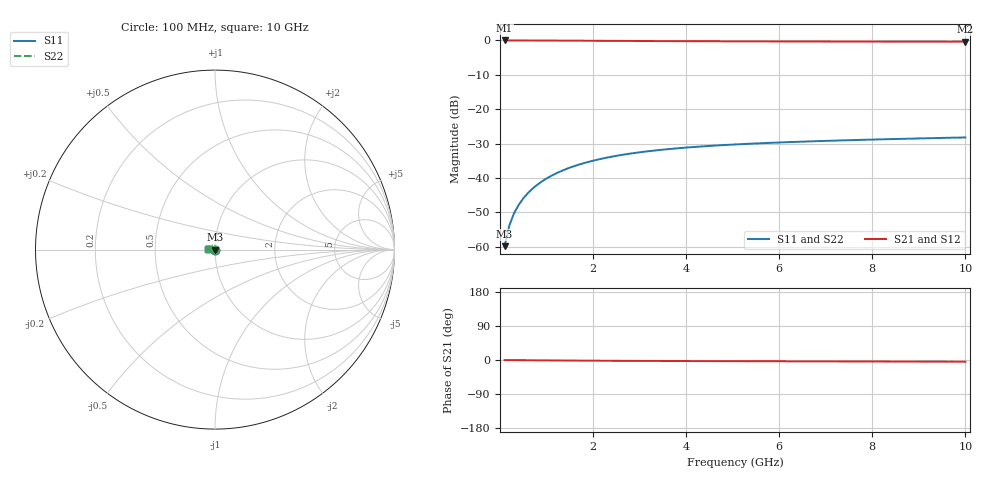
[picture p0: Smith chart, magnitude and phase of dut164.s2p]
! Touchstone file exported from HFSS 2024.1.0
!  File:  C:/UserFiles/LocalFiles/RDL_TSV_Batchsim/temp_TSV1_164_1779382654.aedt
!  Generated:  01:03:48 AM May 22, 2026
!  Design:  TSV1
!  Project:  temp_TSV1_164_1779382654
!  Setup:  Setup1
!  Solution:  Sweep
! Variables:
!  dtsv = 9.8um
!  hbump = 3um
!  htsv = 68.54um
!  lrdl = 252.1521522um
!  p = 40
!  p1 = 51.22um
!  t = 500um
!  trdl = 3um
!  wrdl = 24.89489489um
# GHz S MA R 50.000000
! Terminal data exported
! Port[1] = TSV22_T1
! Port[2] = TSV22_T2
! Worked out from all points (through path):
!   100 points, 100 MHz to 10 GHz, reference 50 ohm
!   highest |S21| = 0.00 dB at 100 MHz (marker M1); lowest = -0.4 dB at 10 GHz (marker M2)
!   lowest |S11| = -59.9 dB at 100 MHz (marker M3), VSWR 1.00, Z = 50 - j0.101 ohm
!   |S11| at or under -10 dB: start of sweep to end of sweep
!   |S22| runs from -59.9 to -28.2 dB; largest |S21 - S12| = 5e-15
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0.1  0.001014 -84.1  0.9998 -0.1  0.9998 -0.1  0.001014 -84.1
! Gamma 0 0 0 0
! Port Impedance 50 0 50 0
0.2  0.002017 -89.7  0.9997 -0.2  0.9997 -0.2  0.002017 -89.7
0.3  0.003022 -92.8  0.9995 -0.3  0.9995 -0.3  0.003022 -92.8
0.4  0.004024 -95.3  0.9993 -0.4  0.9993 -0.4  0.004024 -95.3
0.5  0.005018 -97.6  0.999 -0.5  0.999 -0.5  0.005018 -97.6
0.6  0.006001 -99.7  0.9986 -0.6  0.9986 -0.6  0.006001 -99.7
0.7  0.006971 -101.8  0.9982 -0.7  0.9982 -0.7  0.006971 -101.8
0.8  0.007925 -103.7  0.9977 -0.8  0.9977 -0.8  0.007925 -103.7
0.9  0.008863 -105.7  0.9972 -0.9  0.9972 -0.9  0.008863 -105.7
1.1  0.01068 -109.4  0.996 -1.1  0.996 -1.1  0.01068 -109.4
1.4  0.01325 -114.7  0.994 -1.4  0.994 -1.4  0.01325 -114.7
1.6  0.01486 -118.1  0.9926 -1.5  0.9926 -1.5  0.01486 -118.1
1.8  0.01636 -121.3  0.9911 -1.7  0.9911 -1.7  0.01636 -121.3
2.1  0.01845 -125.9  0.9888 -1.9  0.9888 -1.9  0.01845 -125.9
2.5  0.02092 -131.6  0.9857 -2.1  0.9857 -2.1  0.02092 -131.6
2.9  0.02306 -136.8  0.9827 -2.3  0.9827 -2.3  0.02306 -136.8
3.4  0.02534 -142.7  0.9794 -2.5  0.9794 -2.5  0.02534 -142.7
4.2  0.02825 -150.9  0.9748 -2.8  0.9748 -2.8  0.02825 -150.9
5.1  0.03076 -158.8  0.9706 -3.1  0.9706 -3.1  0.03076 -158.8
6.7  0.03403 -170.1  0.9654 -3.6  0.9654 -3.6  0.03403 -170.1
8.4  0.03666 -179.7  0.9618 -4.1  0.9618 -4.1  0.03666 -179.7
10  0.03878 172.7  0.9595 -4.5  0.9595 -4.5  0.03878 172.7
